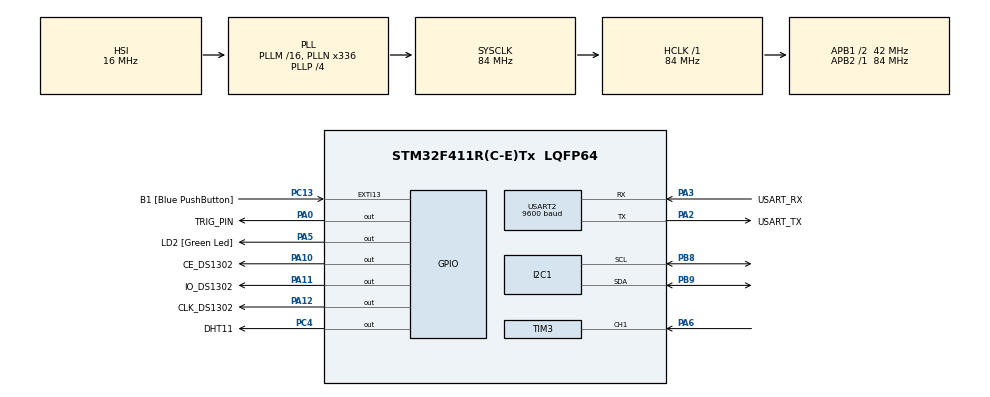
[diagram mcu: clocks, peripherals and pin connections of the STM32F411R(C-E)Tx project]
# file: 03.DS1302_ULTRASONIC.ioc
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Mcu.Family=STM32F4
Mcu.Name=STM32F411R(C-E)Tx
Mcu.Package=LQFP64
NVIC.PriorityGroup=NVIC_PRIORITYGROUP_0
NVIC.TIM1_TRG_COM_TIM11_IRQn=true\:0\:0\:false\:false\:true\:true\:true\:true
NVIC.TIM1_UP_TIM10_IRQn=true\:0\:0\:false\:false\:true\:true\:true\:true
NVIC.TIM3_IRQn=true\:0\:0\:false\:false\:true\:true\:true\:true
NVIC.USART2_IRQn=true\:0\:0\:false\:false\:true\:true\:true\:true
PA0-WKUP.GPIO_Label=TRIG_PIN
PA0-WKUP.Signal=GPIO_Output
PA10.GPIO_Label=CE_DS1302
PA10.Signal=GPIO_Output
PA11.GPIO_Label=IO_DS1302
PA11.Signal=GPIO_Output
PA12.GPIO_Label=CLK_DS1302
PA12.Signal=GPIO_Output
PA13.GPIO_Label=TMS
PA13.Mode=Serial_Wire
PA13.Signal=SYS_JTMS-SWDIO
PA14.GPIO_Label=TCK
PA14.Mode=Serial_Wire
PA14.Signal=SYS_JTCK-SWCLK
PA2.GPIO_Label=USART_TX
PA2.Mode=Asynchronous
PA2.Signal=USART2_TX
PA3.GPIO_Label=USART_RX
PA3.Mode=Asynchronous
PA3.Signal=USART2_RX
PA5.GPIO_Label=LD2 [Green Led]
PA5.Signal=GPIO_Output
PA6.Signal=S_TIM3_CH1
PB3.GPIO_Label=SWO
PB3.Signal=SYS_JTDO-SWO
PB8.Mode=I2C
PB8.Signal=I2C1_SCL
PB9.Mode=I2C
PB9.Signal=I2C1_SDA
PC13-ANTI_TAMP.GPIO_Label=B1 [Blue PushButton]
PC13-ANTI_TAMP.GPIO_ModeDefaultEXTI=GPIO_MODE_IT_FALLING
PC13-ANTI_TAMP.Signal=GPXTI13
PC14-OSC32_IN.Mode=LSE-External-Oscillator
PC14-OSC32_IN.Signal=RCC_OSC32_IN
PC15-OSC32_OUT.Mode=LSE-External-Oscillator
PC15-OSC32_OUT.Signal=RCC_OSC32_OUT
PC4.GPIO_Label=DHT11
PC4.Signal=GPIO_Output
PH0\ -\ OSC_IN.Mode=HSE-External-Clock-Source
PH0\ -\ OSC_IN.Signal=RCC_OSC_IN
PH1\ -\ OSC_OUT.Mode=HSE-External-Clock-Source
PH1\ -\ OSC_OUT.Signal=RCC_OSC_OUT
ProjectManager.HeapSize=0x200
ProjectManager.StackSize=0x400
ProjectManager.TargetToolchain=STM32CubeIDE
RCC.48MHZClocksFreq_Value=84000000
RCC.AHBFreq_Value=84000000
RCC.APB1CLKDivider=RCC_HCLK_DIV2
RCC.APB1Freq_Value=42000000
RCC.APB1TimFreq_Value=84000000
RCC.APB2Freq_Value=84000000
RCC.APB2TimFreq_Value=84000000
RCC.CortexFreq_Value=84000000
RCC.FLatency-AdvancedSettings=FLASH_LATENCY_2
RCC.HCLKFreq_Value=84000000
RCC.HSE_VALUE=8000000
RCC.HSI_VALUE=16000000
RCC.PLLN=336
RCC.PLLP=RCC_PLLP_DIV4
RCC.SYSCLKFreq_VALUE=84000000
RCC.SYSCLKSource=RCC_SYSCLKSOURCE_PLLCLK
RCC.VCOOutputFreq_Value=336000000
SH.S_TIM3_CH1.0=TIM3_CH1,Input_Capture1_from_TI1
TIM10.Period=1000-1
TIM10.Prescaler=84-1
TIM11.Period=1000
TIM11.Prescaler=83
TIM3.Channel-Input_Capture1_from_TI1=TIM_CHANNEL_1
TIM3.ICPolarity_CH1=TIM_INPUTCHANNELPOLARITY_BOTHEDGE
TIM3.Period=65535-1
TIM3.Prescaler=84-1
USART2.BaudRate=9600
USART2.VirtualMode=VM_ASYNC
VP_TIM10_VS_ClockSourceINT.Mode=Enable_Timer
VP_TIM11_VS_ClockSourceINT.Mode=Enable_Timer
board=NUCLEO-F411RE

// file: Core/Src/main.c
/* USER CODE BEGIN Header */
/**
  ******************************************************************************
  * @file           : main.c
  * @brief          : Main program body
  ******************************************************************************
  * @attention
  *
  * Copyright (c) 2025 STMicroelectronics.
  * All rights reserved.
  *
  * This software is licensed under terms that can be found in the LICENSE file
  * in the root directory of this software component.
  * If no LICENSE file comes with this software, it is provided AS-IS.
  *
  ******************************************************************************
  */
/* USER CODE END Header */
#include "main.h"

/* USER CODE BEGIN Includes */
#include "stdio.h"
#include <string.h>
#include <stdlib.h>
#include "ds1302.h"
/* USER CODE END Includes */

/* USER CODE BEGIN PD */
#define QUEUE_SIZE 4
#define COMMAND_LENGTH 80
/* USER CODE END PD */

I2C_HandleTypeDef hi2c1;

TIM_HandleTypeDef htim3;
TIM_HandleTypeDef htim10;
TIM_HandleTypeDef htim11;

UART_HandleTypeDef huart2;

/* USER CODE BEGIN PV */
volatile int TIM10_counter=0;

volatile int rear = 0;
volatile int front = 0;
volatile uint8_t rx_buff[QUEUE_SIZE][COMMAND_LENGTH];
volatile int rx_idx = 0;
uint8_t rx_data;

volatile int TIM10_ultrasonic_counter=0;
/* USER CODE END PV */

void SystemClock_Config(void);
static void MX_GPIO_Init(void);
static void MX_USART2_UART_Init(void);
static void MX_TIM11_Init(void);
static void MX_TIM10_Init(void);
static void MX_TIM3_Init(void);
static void MX_I2C1_Init(void);
/* USER CODE BEGIN PFP */
void delay_us(unsigned long us);
extern void dht11_main(void);
extern void ds1302_main(void);
extern void ultrasonic_processing(void);
extern void i2c_lcd_main(void);
/* USER CODE END PFP */

/* USER CODE BEGIN 0 */

#ifdef __GNUC__    // Add for printf
/* With GCC, small printf (option LD Linker->Libraries->Small printf
   set to 'Yes') calls __io_putchar() */
#define PUTCHAR_PROTOTYPE int __io_putchar(int ch)
#else
#define PUTCHAR_PROTOTYPE int fputc(int ch, FILE *f)
#endif /* __GNUC__ */
/**
  * @brief  Retargets the C library printf function to the USART.
  * @param  None
  * @retval None
  */
PUTCHAR_PROTOTYPE   // Add for printf
{
  /* Place your implementation of fputc here */
  /* e.g. write a character to the USART3 and Loop until the end of transmission */
  HAL_UART_Transmit(&huart2, (uint8_t *)&ch, 1, 0xFFFF);

  return ch;
}

/*
 *  1MHz : 0.000001sec (1us)
 *  	   0.001us : 1ms : 1000us
 *  	   0.1sec(100ms) : 100,000us
 */
void delay_us(unsigned long us)
{
	__HAL_TIM_SET_COUNTER(&htim11, 0); //tim11 time count clear
	while(__HAL_TIM_GET_COUNTER(&htim11) < us);
}

void HAL_TIM_PeriodElapsedCallback(TIM_HandleTypeDef *htim)
{
	if(htim->Instance == TIM10){
		TIM10_counter++;
		TIM10_ultrasonic_counter++;
	}
}

void demoboard_led2_onoff()
{
   static int led2_toggle = 0;
   // HAL_GPIO_WritePin 함수를 활용하여 led를 on.off하도록 함
   if(TIM10_counter >= 500)      // 500ms
   {
      TIM10_counter = 0;
#if 1
      led2_toggle = !led2_toggle;
      HAL_GPIO_WritePin(GPIOA, GPIO_PIN_5, led2_toggle);
#else
      HAL_GPIO_TogglePin(GPIOA, GPIO_PIN_5);
#endif
   }
}

void HAL_UART_RxCpltCallback(UART_HandleTypeDef *huart) {
	if (huart->Instance == USART2) {
		if (rx_data == '\n' || rx_data == '\r') {
			if ((rear + 1) % QUEUE_SIZE != front) {
				rx_buff[rear][rx_idx] = '\0';
				rear = (rear + 1) % QUEUE_SIZE;
				rx_idx = 0;
			} else {
				rx_idx = 0;
			}
		} else {
			if (rx_idx < COMMAND_LENGTH - 1) {
				rx_buff[rear][rx_idx++] = rx_data;
			}
		}
		HAL_UART_Receive_IT(&huart2, &rx_data, 1);
	}
}
/* USER CODE END 0 */

int main(void)
{

  /* MCU Configuration--------------------------------------------------------*/

  /* Reset of all peripherals, Initializes the Flash interface and the Systick. */
  HAL_Init();

  /* Configure the system clock */
  SystemClock_Config();

  /* Initialize all configured peripherals */
  MX_GPIO_Init();
  MX_USART2_UART_Init();
  MX_TIM11_Init();
  MX_TIM10_Init();
  MX_TIM3_Init();
  MX_I2C1_Init();
  /* USER CODE BEGIN 2 */
  HAL_TIM_Base_Start(&htim11);
  HAL_TIM_Base_Start_IT(&htim10);
  HAL_TIM_IC_Start_IT(&htim3, TIM_CHANNEL_1);
  HAL_UART_Receive_IT(&huart2, &rx_data, 1);
  //dht11_main();
  //ds1302_main();
  i2c_lcd_main();
  /* USER CODE END 2 */

  /* Infinite loop */
  while (1)
  {

    /* USER CODE BEGIN 3 */
	  demoboard_led2_onoff();
	  ultrasonic_processing();
  }
  /* USER CODE END 3 */
}

void SystemClock_Config(void)
{
  RCC_OscInitTypeDef RCC_OscInitStruct = {0};
  RCC_ClkInitTypeDef RCC_ClkInitStruct = {0};

  /** Configure the main internal regulator output voltage
  */
  __HAL_RCC_PWR_CLK_ENABLE();
  __HAL_PWR_VOLTAGESCALING_CONFIG(PWR_REGULATOR_VOLTAGE_SCALE1);

  /** Initializes the RCC Oscillators according to the specified parameters
  * in the RCC_OscInitTypeDef structure.
  */
  RCC_OscInitStruct.OscillatorType = RCC_OSCILLATORTYPE_HSI;
  RCC_OscInitStruct.HSIState = RCC_HSI_ON;
  RCC_OscInitStruct.HSICalibrationValue = RCC_HSICALIBRATION_DEFAULT;
  RCC_OscInitStruct.PLL.PLLState = RCC_PLL_ON;
  RCC_OscInitStruct.PLL.PLLSource = RCC_PLLSOURCE_HSI;
  RCC_OscInitStruct.PLL.PLLM = 16;
  RCC_OscInitStruct.PLL.PLLN = 336;
  RCC_OscInitStruct.PLL.PLLP = RCC_PLLP_DIV4;
  RCC_OscInitStruct.PLL.PLLQ = 4;
  if (HAL_RCC_OscConfig(&RCC_OscInitStruct) != HAL_OK)
  {
    Error_Handler();
  }

  /** Initializes the CPU, AHB and APB buses clocks
  */
  RCC_ClkInitStruct.ClockType = RCC_CLOCKTYPE_HCLK|RCC_CLOCKTYPE_SYSCLK
                              |RCC_CLOCKTYPE_PCLK1|RCC_CLOCKTYPE_PCLK2;
  RCC_ClkInitStruct.SYSCLKSource = RCC_SYSCLKSOURCE_PLLCLK;
  RCC_ClkInitStruct.AHBCLKDivider = RCC_SYSCLK_DIV1;
  RCC_ClkInitStruct.APB1CLKDivider = RCC_HCLK_DIV2;
  RCC_ClkInitStruct.APB2CLKDivider = RCC_HCLK_DIV1;

  if (HAL_RCC_ClockConfig(&RCC_ClkInitStruct, FLASH_LATENCY_2) != HAL_OK)
  {
    Error_Handler();
  }
}

static void MX_I2C1_Init(void)
{

  hi2c1.Instance = I2C1;
  hi2c1.Init.ClockSpeed = 100000;
  hi2c1.Init.DutyCycle = I2C_DUTYCYCLE_2;
  hi2c1.Init.OwnAddress1 = 0;
  hi2c1.Init.AddressingMode = I2C_ADDRESSINGMODE_7BIT;
  hi2c1.Init.DualAddressMode = I2C_DUALADDRESS_DISABLE;
  hi2c1.Init.OwnAddress2 = 0;
  hi2c1.Init.GeneralCallMode = I2C_GENERALCALL_DISABLE;
  hi2c1.Init.NoStretchMode = I2C_NOSTRETCH_DISABLE;
  if (HAL_I2C_Init(&hi2c1) != HAL_OK)
  {
    Error_Handler();
  }

}

static void MX_TIM3_Init(void)
{

  TIM_MasterConfigTypeDef sMasterConfig = {0};
  TIM_IC_InitTypeDef sConfigIC = {0};

  htim3.Instance = TIM3;
  htim3.Init.Prescaler = 84-1;
  htim3.Init.CounterMode = TIM_COUNTERMODE_UP;
  htim3.Init.Period = 65535-1;
  htim3.Init.ClockDivision = TIM_CLOCKDIVISION_DIV1;
  htim3.Init.AutoReloadPreload = TIM_AUTORELOAD_PRELOAD_DISABLE;
  if (HAL_TIM_IC_Init(&htim3) != HAL_OK)
  {
    Error_Handler();
  }
  sMasterConfig.MasterOutputTrigger = TIM_TRGO_RESET;
  sMasterConfig.MasterSlaveMode = TIM_MASTERSLAVEMODE_DISABLE;
  if (HAL_TIMEx_MasterConfigSynchronization(&htim3, &sMasterConfig) != HAL_OK)
  {
    Error_Handler();
  }
  sConfigIC.ICPolarity = TIM_INPUTCHANNELPOLARITY_BOTHEDGE;
  sConfigIC.ICSelection = TIM_ICSELECTION_DIRECTTI;
  sConfigIC.ICPrescaler = TIM_ICPSC_DIV1;
  sConfigIC.ICFilter = 0;
  if (HAL_TIM_IC_ConfigChannel(&htim3, &sConfigIC, TIM_CHANNEL_1) != HAL_OK)
  {
    Error_Handler();
  }

}

static void MX_TIM10_Init(void)
{

  htim10.Instance = TIM10;
  htim10.Init.Prescaler = 84-1;
  htim10.Init.CounterMode = TIM_COUNTERMODE_UP;
  htim10.Init.Period = 1000-1;
  htim10.Init.ClockDivision = TIM_CLOCKDIVISION_DIV1;
  htim10.Init.AutoReloadPreload = TIM_AUTORELOAD_PRELOAD_DISABLE;
  if (HAL_TIM_Base_Init(&htim10) != HAL_OK)
  {
    Error_Handler();
  }

}

static void MX_TIM11_Init(void)
{

  htim11.Instance = TIM11;
  htim11.Init.Prescaler = 83;
  htim11.Init.CounterMode = TIM_COUNTERMODE_UP;
  htim11.Init.Period = 1000;
  htim11.Init.ClockDivision = TIM_CLOCKDIVISION_DIV1;
  htim11.Init.AutoReloadPreload = TIM_AUTORELOAD_PRELOAD_DISABLE;
  if (HAL_TIM_Base_Init(&htim11) != HAL_OK)
  {
    Error_Handler();
  }

}

static void MX_USART2_UART_Init(void)
{

  huart2.Instance = USART2;
  huart2.Init.BaudRate = 9600;
  huart2.Init.WordLength = UART_WORDLENGTH_8B;
  huart2.Init.StopBits = UART_STOPBITS_1;
  huart2.Init.Parity = UART_PARITY_NONE;
  huart2.Init.Mode = UART_MODE_TX_RX;
  huart2.Init.HwFlowCtl = UART_HWCONTROL_NONE;
  huart2.Init.OverSampling = UART_OVERSAMPLING_16;
  if (HAL_UART_Init(&huart2) != HAL_OK)
  {
    Error_Handler();
  }

}

static void MX_GPIO_Init(void)
{
  GPIO_InitTypeDef GPIO_InitStruct = {0};

  /* GPIO Ports Clock Enable */
  __HAL_RCC_GPIOC_CLK_ENABLE();
  __HAL_RCC_GPIOH_CLK_ENABLE();
  __HAL_RCC_GPIOA_CLK_ENABLE();
  __HAL_RCC_GPIOB_CLK_ENABLE();

  /*Configure GPIO pin Output Level */
  HAL_GPIO_WritePin(GPIOA, TRIG_PIN_Pin|LD2_Pin|CE_DS1302_Pin|IO_DS1302_Pin
                          |CLK_DS1302_Pin, GPIO_PIN_RESET);

  /*Configure GPIO pin Output Level */
  HAL_GPIO_WritePin(DHT11_GPIO_Port, DHT11_Pin, GPIO_PIN_RESET);

  /*Configure GPIO pin : B1_Pin */
  GPIO_InitStruct.Pin = B1_Pin;
  GPIO_InitStruct.Mode = GPIO_MODE_IT_FALLING;
  GPIO_InitStruct.Pull = GPIO_NOPULL;
  HAL_GPIO_Init(B1_GPIO_Port, &GPIO_InitStruct);

  /*Configure GPIO pins : TRIG_PIN_Pin LD2_Pin CE_DS1302_Pin IO_DS1302_Pin
                           CLK_DS1302_Pin */
  GPIO_InitStruct.Pin = TRIG_PIN_Pin|LD2_Pin|CE_DS1302_Pin|IO_DS1302_Pin
                          |CLK_DS1302_Pin;
  GPIO_InitStruct.Mode = GPIO_MODE_OUTPUT_PP;
  GPIO_InitStruct.Pull = GPIO_NOPULL;
  GPIO_InitStruct.Speed = GPIO_SPEED_FREQ_LOW;
  HAL_GPIO_Init(GPIOA, &GPIO_InitStruct);

  /*Configure GPIO pin : DHT11_Pin */
  GPIO_InitStruct.Pin = DHT11_Pin;
  GPIO_InitStruct.Mode = GPIO_MODE_OUTPUT_PP;
  GPIO_InitStruct.Pull = GPIO_NOPULL;
  GPIO_InitStruct.Speed = GPIO_SPEED_FREQ_LOW;
  HAL_GPIO_Init(DHT11_GPIO_Port, &GPIO_InitStruct);

}

void Error_Handler(void)
{
  __disable_irq();
  while (1)
  {
  }
}
